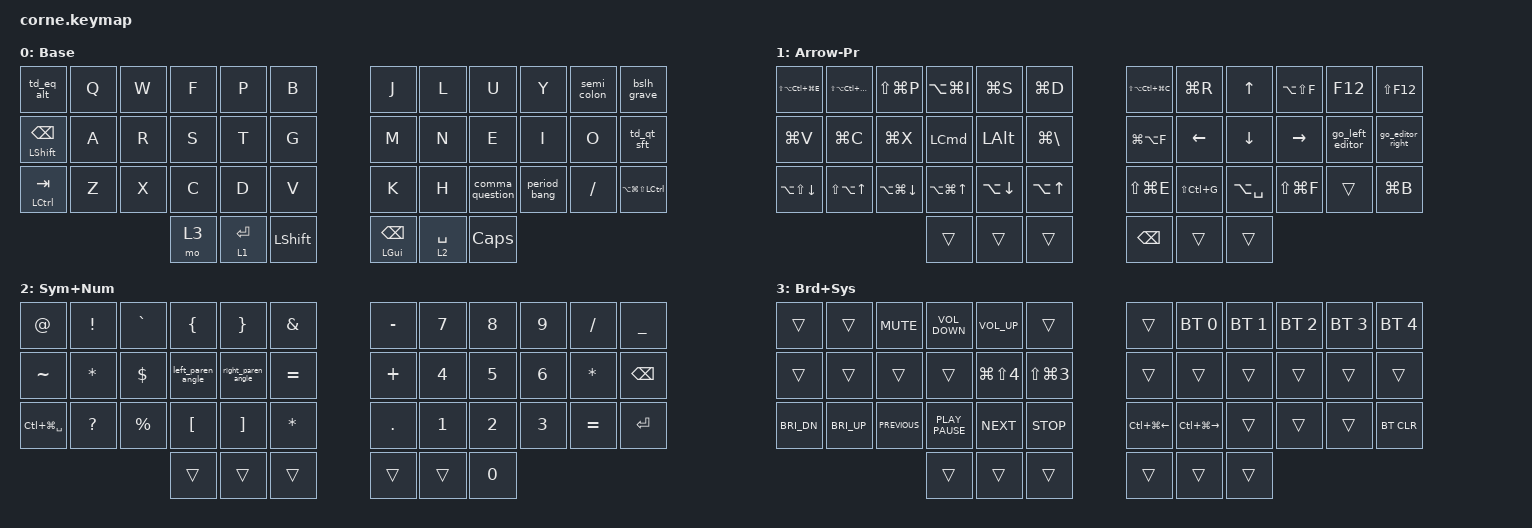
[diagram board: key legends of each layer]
/*
 * Copyright (c) 2020 The ZMK Contributors
 *
 * SPDX-License-Identifier: MIT
 */

#include <behaviors.dtsi>
#include <dt-bindings/zmk/keys.h>
#include <dt-bindings/zmk/bt.h>

/ {
    macros {
        go_left_editor: go_left_editor {
            compatible = "zmk,behavior-macro";
            #binding-cells = <0>;
            bindings = <&kp LG(K) &kp LG(LEFT_ARROW)>;
            label = "GO_LEFT_EDITOR";
        };

        go_editor_right: go_editor_right {
            compatible = "zmk,behavior-macro";
            #binding-cells = <0>;
            bindings = <&kp LG(K) &kp LG(RIGHT)>;
            label = "GO_EDITOR_RIGHT";
        };
    };

    behaviors {
        hold_tap_mod: hold_tap_mod {
            compatible = "zmk,behavior-hold-tap";
            label = "HOLD_TAP_MOD";
            bindings = <&kp>, <&kp>;
            #binding-cells = <2>;
            tapping-term-ms = <200>;
            quick-tap-ms = <175>;
            require-prior-idle-ms = <150>;
            flavor = "tap-preferred";
            hold-trigger-on-release;
        };

        hold_tap_fast: hold_tap_fast {
            compatible = "zmk,behavior-hold-tap";
            label = "HOLD_TAP_FAST";
            bindings = <&kp>, <&kp>;
            #binding-cells = <2>;
            tapping-term-ms = <175>;
            quick-tap-ms = <175>;
            require-prior-idle-ms = <150>;
            flavor = "tap-preferred";
            hold-trigger-on-release;
        };

        ht_lalt: ht_lalt {
            compatible = "zmk,behavior-hold-tap";
            label = "HT_LALT";
            bindings = <&kp>, <&kp>;
            #binding-cells = <2>;
            tapping-term-ms = <200>;
            require-prior-idle-ms = <150>;
            flavor = "hold-preferred";
        };

        ht_rsft: ht_rsft {
            compatible = "zmk,behavior-hold-tap";
            label = "HT_RSFT";
            bindings = <&kp>, <&kp>;
            #binding-cells = <2>;
            tapping-term-ms = <200>;
            require-prior-idle-ms = <150>;
            flavor = "hold-preferred";
        };

        td_eq_alt: td_eq_alt {
            compatible = "zmk,behavior-tap-dance";
            label = "TD_EQ_ALT";
            #binding-cells = <0>;
            tapping-term-ms = <150>;
            bindings = <&ht_lalt LEFT_ALT EQUAL>, <&kp ESCAPE>;
        };

        td_qt_sft: td_qt_sft {
            compatible = "zmk,behavior-tap-dance";
            label = "TD_QT_SFT";
            #binding-cells = <0>;
            tapping-term-ms = <150>;
            bindings = <&ht_rsft RIGHT_SHIFT APOS>, <&kp DQT>;
        };

        semi_colon: semi_colon {
            compatible = "zmk,behavior-tap-dance";
            label = "SEMI_COLON";
            #binding-cells = <0>;
            bindings = <&kp SEMICOLON>, <&kp COLON>;
        };

        bslh_grave: bslh_grave {
            compatible = "zmk,behavior-tap-dance";
            label = "BSLH_GRAVE";
            #binding-cells = <0>;
            bindings = <&kp BACKSLASH>, <&kp GRAVE>;
        };

        left_paren_angle: left_paren_angle {
            compatible = "zmk,behavior-tap-dance";
            label = "LEFT_PAREN_ANGLE";
            #binding-cells = <0>;
            bindings = <&kp LEFT_PARENTHESIS>, <&kp LESS_THAN>;
        };

        right_paren_angle: right_paren_angle {
            compatible = "zmk,behavior-tap-dance";
            label = "RIGHT_PAREN_ANGLE";
            #binding-cells = <0>;
            bindings = <&kp RIGHT_PARENTHESIS>, <&kp GREATER_THAN>;
        };

        period_bang: period_bang {
            compatible = "zmk,behavior-tap-dance";
            label = "PERIOD_BANG";
            #binding-cells = <0>;
            bindings = <&kp PERIOD>, <&kp EXCLAMATION>;
        };

        comma_question: comma_question {
            compatible = "zmk,behavior-tap-dance";
            label = "COMMA_QUESTION";
            #binding-cells = <0>;
            bindings = <&kp COMMA>, <&kp QUESTION>;
        };
    };

    combos {
        compatible = "zmk,combos";

        top-left-escape {
            bindings = <&kp ESCAPE>;
            key-positions = <0 1>;
        };
    };

    keymap {
        compatible = "zmk,keymap";

        colemak_dh {
            display-name = "Base";
            bindings = <
&td_eq_alt                      &kp Q  &kp W  &kp F  &kp P        &kp B             &kp J                              &kp L        &kp U            &kp Y         &semi_colon  &bslh_grave
&hold_tap_mod LEFT_SHIFT BSPC   &kp A  &kp R  &kp S  &kp T        &kp G             &kp M                              &kp N        &kp E            &kp I         &kp O        &td_qt_sft
&hold_tap_mod LEFT_CONTROL TAB  &kp Z  &kp X  &kp C  &kp D        &kp V             &kp K                              &kp H        &comma_question  &period_bang  &kp FSLH     &kp LA(LG(LS(LEFT_CONTROL)))
                                              &mo 3  &lt 1 ENTER  &kp LEFT_SHIFT    &hold_tap_fast LEFT_GUI BACKSPACE  &lt 2 SPACE  &kp CAPS
            >;
        };

        arrows_programming {
            display-name = "Arrow-Pr";
            bindings = <
&kp LS(LA(LC(LG(E))))  &kp LS(LA(LC(LG(Q))))  &kp LS(LG(P))     &kp LA(LG(I))         &kp LG(S)     &kp LG(D)            &kp LS(LA(LC(LG(C))))  &kp LG(R)      &kp UP_ARROW    &kp LA(LS(F))  &kp F12          &kp LS(F12)
&kp LG(V)              &kp LG(C)              &kp LG(X)         &kp LEFT_COMMAND      &kp LEFT_ALT  &kp LG(BACKSLASH)    &kp LG(LA(F))          &kp LEFT       &kp DOWN_ARROW  &kp RIGHT      &go_left_editor  &go_editor_right
&kp LA(LS(DOWN))       &kp LS(LA(UP_ARROW))   &kp LA(LG(DOWN))  &kp LA(LG(UP_ARROW))  &kp LA(DOWN)  &kp LA(UP_ARROW)     &kp LS(LG(E))          &kp LS(LC(G))  &kp LA(SPACE)   &kp LS(LG(F))  &trans           &kp LG(B)
                                                                 &trans                &trans        &trans               &kp BACKSPACE          &trans         &trans
            >;
        };

        symbols_numbers {
            display-name = "Sym+Num";
            bindings = <
&kp AT_SIGN        &kp EXCLAMATION  &kp GRAVE    &kp LEFT_BRACE     &kp RIGHT_BRACE     &kp AMPERSAND    &kp MINUS   &kp N7        &kp N8        &kp N9        &kp FSLH      &kp UNDERSCORE
&kp TILDE          &kp ASTERISK     &kp DOLLAR   &left_paren_angle  &right_paren_angle  &kp EQUAL        &kp PLUS    &kp N4        &kp N5        &kp N6        &kp ASTERISK  &kp BACKSPACE
&kp LC(LG(SPACE))  &kp QUESTION     &kp PERCENT  &kp LEFT_BRACKET   &kp RIGHT_BRACKET   &kp ASTERISK     &kp PERIOD  &kp N1        &kp N2        &kp N3        &kp EQUAL     &kp RETURN
                                                 &trans             &trans              &trans           &trans      &trans        &kp N0
            >;
        };

        board_system {
            display-name = "Brd+Sys";
            bindings = <
&trans             &trans             &kp K_MUTE      &kp C_VOLUME_DOWN  &kp C_VOL_UP          &trans                  &trans                  &bt BT_SEL 0       &bt BT_SEL 1  &bt BT_SEL 2  &bt BT_SEL 3  &bt BT_SEL 4
&trans             &trans             &trans          &trans             &kp LG(LS(NUMBER_4))  &kp LS(LG(NUMBER_3))    &trans                  &trans             &trans        &trans        &trans        &trans
&kp C_BRI_DN       &kp C_BRI_UP       &kp K_PREVIOUS  &kp K_PLAY_PAUSE   &kp K_NEXT            &kp K_STOP              &kp LC(LG(LEFT_ARROW))  &kp LC(LG(RIGHT))  &trans        &trans        &trans        &bt BT_CLR
                                                      &trans             &trans                &trans                  &trans                  &trans             &trans
            >;
        };
    };
};
